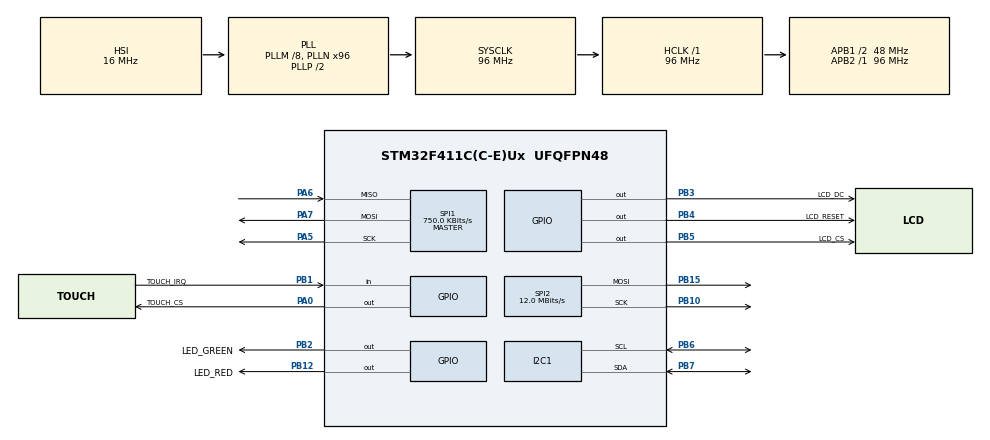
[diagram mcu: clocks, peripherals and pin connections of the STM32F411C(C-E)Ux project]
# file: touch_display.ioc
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Dma.Request0=SPI2_TX
Dma.SPI2_TX.0.Direction=DMA_MEMORY_TO_PERIPH
Dma.SPI2_TX.0.FIFOMode=DMA_FIFOMODE_DISABLE
Dma.SPI2_TX.0.Instance=DMA1_Stream4
Dma.SPI2_TX.0.MemDataAlignment=DMA_MDATAALIGN_BYTE
Dma.SPI2_TX.0.MemInc=DMA_MINC_ENABLE
Dma.SPI2_TX.0.Mode=DMA_NORMAL
Dma.SPI2_TX.0.PeriphDataAlignment=DMA_PDATAALIGN_BYTE
Dma.SPI2_TX.0.PeriphInc=DMA_PINC_DISABLE
Dma.SPI2_TX.0.Priority=DMA_PRIORITY_HIGH
I2C1.I2C_Mode=I2C_Fast
Mcu.Family=STM32F4
Mcu.Name=STM32F411C(C-E)Ux
Mcu.Package=UFQFPN48
NVIC.DMA1_Stream4_IRQn=true\:0\:0\:false\:false\:true\:false\:true\:true
NVIC.PriorityGroup=NVIC_PRIORITYGROUP_4
NVIC.SPI2_IRQn=true\:0\:0\:false\:false\:true\:true\:true\:true
PA0-WKUP.GPIO_Label=TOUCH_CS
PA0-WKUP.Signal=GPIO_Output
PA5.Mode=Full_Duplex_Master
PA5.Signal=SPI1_SCK
PA6.Mode=Full_Duplex_Master
PA6.Signal=SPI1_MISO
PA7.Mode=Full_Duplex_Master
PA7.Signal=SPI1_MOSI
PB1.GPIO_Label=TOUCH_IRQ
PB1.GPIO_PuPd=GPIO_PULLUP
PB1.Signal=GPIO_Input
PB10.Mode=TX_Only_Simplex_Unidirect_Master
PB10.Signal=SPI2_SCK
PB12.GPIO_Label=LED_RED
PB12.Signal=GPIO_Output
PB15.Mode=TX_Only_Simplex_Unidirect_Master
PB15.Signal=SPI2_MOSI
PB2.GPIO_Label=LED_GREEN
PB2.Signal=GPIO_Output
PB3.GPIO_Label=LCD_DC
PB3.Signal=GPIO_Output
PB4.GPIO_Label=LCD_RESET
PB4.Signal=GPIO_Output
PB5.GPIO_Label=LCD_CS
PB5.Signal=GPIO_Output
PB6.Mode=I2C
PB6.Signal=I2C1_SCL
PB7.Mode=I2C
PB7.Signal=I2C1_SDA
PH0\ -\ OSC_IN.Mode=HSE-External-Oscillator
PH0\ -\ OSC_IN.Signal=RCC_OSC_IN
PH1\ -\ OSC_OUT.Mode=HSE-External-Oscillator
PH1\ -\ OSC_OUT.Signal=RCC_OSC_OUT
ProjectManager.HeapSize=0x1000
ProjectManager.StackSize=0x2000
ProjectManager.TargetToolchain=MDK-ARM V5.32
RCC.48MHZClocksFreq_Value=48000000
RCC.AHBFreq_Value=96000000
RCC.APB1CLKDivider=RCC_HCLK_DIV2
RCC.APB1Freq_Value=48000000
RCC.APB1TimFreq_Value=96000000
RCC.APB2Freq_Value=96000000
RCC.APB2TimFreq_Value=96000000
RCC.CortexFreq_Value=96000000
RCC.HCLKFreq_Value=96000000
RCC.HSE_VALUE=25000000
RCC.HSI_VALUE=16000000
RCC.LSE_VALUE=32768
RCC.PLLM=8
RCC.PLLN=96
RCC.SYSCLKFreq_VALUE=96000000
RCC.SYSCLKSource=RCC_SYSCLKSOURCE_PLLCLK
RCC.VCOOutputFreq_Value=192000000
SPI1.BaudRatePrescaler=SPI_BAUDRATEPRESCALER_128
SPI1.CalculateBaudRate=750.0 KBits/s
SPI1.Direction=SPI_DIRECTION_2LINES
SPI1.Mode=SPI_MODE_MASTER
SPI1.VirtualType=VM_MASTER
SPI2.BaudRatePrescaler=SPI_BAUDRATEPRESCALER_4
SPI2.CalculateBaudRate=12.0 MBits/s
SPI2.Direction=SPI_DIRECTION_2LINES
SPI2.Mode=SPI_MODE_MASTER
SPI2.VirtualType=VM_MASTER
VP_TIM9_VS_ClockSourceINT.Mode=Internal
board=custom

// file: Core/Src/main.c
/* USER CODE BEGIN Header */
/**
  ******************************************************************************
  * @file           : main.c
  * @brief          : Main program body
  ******************************************************************************
  * @attention
  *
  * Copyright (c) 2024 STMicroelectronics.
  * All rights reserved.
  *
  * This software is licensed under terms that can be found in the LICENSE file
  * in the root directory of this software component.
  * If no LICENSE file comes with this software, it is provided AS-IS.
  *
  ******************************************************************************
  */
/* USER CODE END Header */
#include "main.h"
#include "dma.h"
#include "i2c.h"
#include "spi.h"
#include "tim.h"
#include "gpio.h"

/* USER CODE BEGIN Includes */
#include "stdio.h"
#include "st7735.h"
#include "Font.h"
#include "touch.h"
#include "rtc.h"
#include "lvgl.h"
#include "LCDController.h"
//#include "lv_spinner.h"
/* USER CODE END Includes */

/* USER CODE BEGIN PD */
#define LVGL_mode
//#define demo_mode
/* USER CODE END PD */

/* USER CODE BEGIN PV */
char LCD_str_buffer[16];

uint8_t RTC_data [6];

/*uint8_t sec = 12;
uint8_t min = 12;
uint8_t hour = 12;*/

char time [10];
char demo_time[]={'1', '2', '1', '2', '1', '2'};

lv_obj_t * led_red;
lv_obj_t * led_green;
lv_obj_t * default_scr;
lv_obj_t * spinner;
lv_span_t * clock_span;
lv_style_t button_style; // Переменные стиля должны быть static, глобальными или динамически распределяемыми
lv_obj_t * main_button;
lv_obj_t * date_scr;

const char main_btn_label[]="date";
const char date_btn_label[]="clock";

STATUS_t Status;
/* USER CODE END PV */

void SystemClock_Config(void);

int main(void)
{

  /* MCU Configuration--------------------------------------------------------*/

  /* Reset of all peripherals, Initializes the Flash interface and the Systick. */
  HAL_Init();

  /* Configure the system clock */
  SystemClock_Config();

  /* Initialize all configured peripherals */
  MX_GPIO_Init();
  MX_DMA_Init();
  MX_SPI2_Init();
  MX_TIM9_Init();
  MX_SPI1_Init();
  MX_I2C1_Init();
  /* USER CODE BEGIN 2 */
	tim_delay_init ();
	delay_us(5000);

	LED_GREEN(OFF);
	LED_RED(ON);

	#ifdef demo_mode
	lcdInit();

	TouchInit();
	TouchCalibrate ();

	HAL_Delay(1000);
	#endif

	#ifdef LVGL_mode
	lv_init();
  lv_port_disp_init();	//активация аппаратного дисплея
	lv_port_indev_init(); //активация тачскрина

	default_scr = lv_scr_act(); //получение указателя на основной экран
	default_scr = lv_screen_init (default_scr);
	button_style_init (button_style);
//	led_red = lv_redled_init (default_scr);
//	led_green = lv_greenled_init (default_scr);
	main_button = lv_button_init (default_scr, &button_style, (char *)main_btn_label); // Create a button
	clock_span = lv_span_init (default_scr); //Создание объекта span group. Span - это объект, который используется для отображения форматированного текста.
	spinner = lv_spinner_init (default_scr);

	date_scr = lv_obj_create (NULL); //создание экрана
	date_scr = lv_screen_init (date_scr);
  lv_win_date(date_scr);

//	SetTime (RTC_ADDRESS, FIRST_REGISTR_TIME, demo_time); //установка времени

	if (GetTime (RTC_ADDRESS, FIRST_REGISTR_TIME, 3, RTC_data) == HAL_OK) //получение данных времени  ч/м/с
	{	convert_time (time, RTC_data, 3);	}
	else
	{	snprintf (time, sizeof (time), "error");	}
	lv_span_set_text_static(clock_span, time); //Ввода статического текста. Он не будет сохранен в span, поэтому переменная 'text' должна быть "активной", пока существует span.
	#endif

  /* USER CODE END 2 */

  /* Infinite loop */
  while (1)
  {

    /* USER CODE BEGIN 3 */
		#ifdef LVGL_mode
		for (uint8_t count=0; count < 100; count++)
		{
			lv_timer_handler();
			HAL_Delay(10);
		}

		TOOGLE_GREEN_LED();
		TOOGLE_RED_LED();
//	lv_led_toggle(led_red);
//	lv_led_toggle(led_green);

		if (GetTime (RTC_ADDRESS, FIRST_REGISTR_TIME, 3, RTC_data) == HAL_OK)
		{	convert_time (time, RTC_data, 3); }						//перевод данных времени из числовой в символьной
		else
		{	snprintf (time, sizeof (time), "error");	}
		lv_span_set_text_static(clock_span, time);
		#endif
  }
  /* USER CODE END 3 */
}

void SystemClock_Config(void)
{
  RCC_OscInitTypeDef RCC_OscInitStruct = {0};
  RCC_ClkInitTypeDef RCC_ClkInitStruct = {0};

  /** Configure the main internal regulator output voltage
  */
  __HAL_RCC_PWR_CLK_ENABLE();
  __HAL_PWR_VOLTAGESCALING_CONFIG(PWR_REGULATOR_VOLTAGE_SCALE1);

  /** Initializes the RCC Oscillators according to the specified parameters
  * in the RCC_OscInitTypeDef structure.
  */
  RCC_OscInitStruct.OscillatorType = RCC_OSCILLATORTYPE_HSI;
  RCC_OscInitStruct.HSIState = RCC_HSI_ON;
  RCC_OscInitStruct.HSICalibrationValue = RCC_HSICALIBRATION_DEFAULT;
  RCC_OscInitStruct.PLL.PLLState = RCC_PLL_ON;
  RCC_OscInitStruct.PLL.PLLSource = RCC_PLLSOURCE_HSI;
  RCC_OscInitStruct.PLL.PLLM = 8;
  RCC_OscInitStruct.PLL.PLLN = 96;
  RCC_OscInitStruct.PLL.PLLP = RCC_PLLP_DIV2;
  RCC_OscInitStruct.PLL.PLLQ = 4;
  if (HAL_RCC_OscConfig(&RCC_OscInitStruct) != HAL_OK)
  {
    Error_Handler();
  }

  /** Initializes the CPU, AHB and APB buses clocks
  */
  RCC_ClkInitStruct.ClockType = RCC_CLOCKTYPE_HCLK|RCC_CLOCKTYPE_SYSCLK
                              |RCC_CLOCKTYPE_PCLK1|RCC_CLOCKTYPE_PCLK2;
  RCC_ClkInitStruct.SYSCLKSource = RCC_SYSCLKSOURCE_PLLCLK;
  RCC_ClkInitStruct.AHBCLKDivider = RCC_SYSCLK_DIV1;
  RCC_ClkInitStruct.APB1CLKDivider = RCC_HCLK_DIV2;
  RCC_ClkInitStruct.APB2CLKDivider = RCC_HCLK_DIV1;

  if (HAL_RCC_ClockConfig(&RCC_ClkInitStruct, FLASH_LATENCY_3) != HAL_OK)
  {
    Error_Handler();
  }
}

void Error_Handler(void)
{
  __disable_irq();
  while (1)
  {
  }
}
